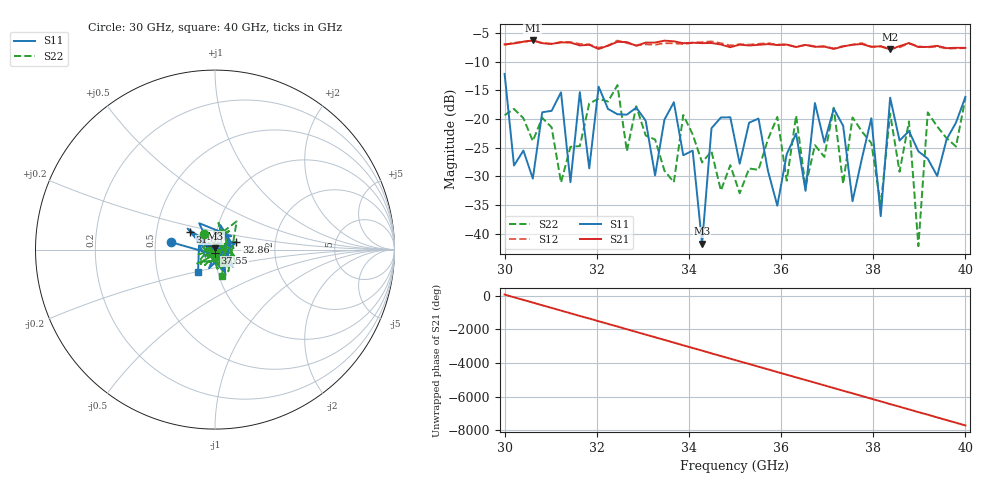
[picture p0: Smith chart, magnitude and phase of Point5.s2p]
! 10/2/2026 3:16:39 PM
! C:\ANRITSUVNA\TEMP\TEMP.S2P
! CHANNEL.1
! TR.MEASUREMENT
! RAW.DATA
# HZ S RI R 50.0
! FREQ.HZ  S11RE  S11IM  S21RE  S21IM  S12RE  S12IM  S22RE  S22IM
!; PortSelection: Port_12
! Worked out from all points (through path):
!   50 points, 30 GHz to 40 GHz, reference 50 ohm
!   highest |S21| = -6.25 dB at 30.61 GHz (marker M1); lowest = -7.8 dB at 38.37 GHz (marker M2)
!   lowest |S11| = -41.8 dB at 34.29 GHz (marker M3), VSWR 1.02, Z = 50.2 + j0.799 ohm
!   |S11| at or under -10 dB: start of sweep to end of sweep
!   |S22| runs from -42.2 to -14.1 dB; largest |S21 - S12| = 0.56
!   S11 on the Smith chart (normalised r, x): 30 GHz: 0.60, +0.05; 31.63 GHz: 0.74, +0.15; 32.86 GHz: 1.26, +0.11; 37.55 GHz: 1.00, -0.04; 40 GHz: 0.80, -0.21
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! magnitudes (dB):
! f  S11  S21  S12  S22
! 30 GHz  -12.1  -6.9  -7.0  -19.3
! 30.61 GHz  -30.4  -6.3  -6.3  -23.8
! 31.22 GHz  -15.3  -6.6  -6.5  -31.1
! 31.43 GHz  -31.0  -6.6  -6.6  -24.8
! 31.63 GHz  -15.3  -7.1  -6.9  -24.7
! 31.84 GHz  -28.6  -7.0  -6.9  -17.3
! 32.86 GHz  -18.0  -7.2  -7.2  -17.8
! 33.47 GHz  -20.1  -6.3  -6.7  -29.0
! 34.29 GHz  -41.8  -6.7  -6.5  -27.6
! 34.49 GHz  -21.6  -6.7  -6.4  -25.6
! 35.1 GHz  -27.8  -7.0  -6.9  -33.0
! 35.92 GHz  -35.1  -7.1  -7.0  -19.6
! 36.53 GHz  -32.5  -7.0  -7.0  -31.8
! 36.73 GHz  -17.2  -7.4  -7.2  -24.6
! 37.55 GHz  -34.4  -7.0  -7.0  -19.7
! 37.96 GHz  -19.8  -7.4  -7.4  -24.2
! 38.16 GHz  -37.0  -7.3  -7.3  -35.1
! 38.37 GHz  -16.3  -7.8  -7.8  -19.0
! 38.78 GHz  -22.1  -6.7  -6.8  -20.4
! 38.98 GHz  -25.6  -7.4  -7.3  -42.2
! 39.18 GHz  -26.9  -7.4  -7.5  -18.8
! 40 GHz  -16.1  -7.5  -7.6  -16.4
